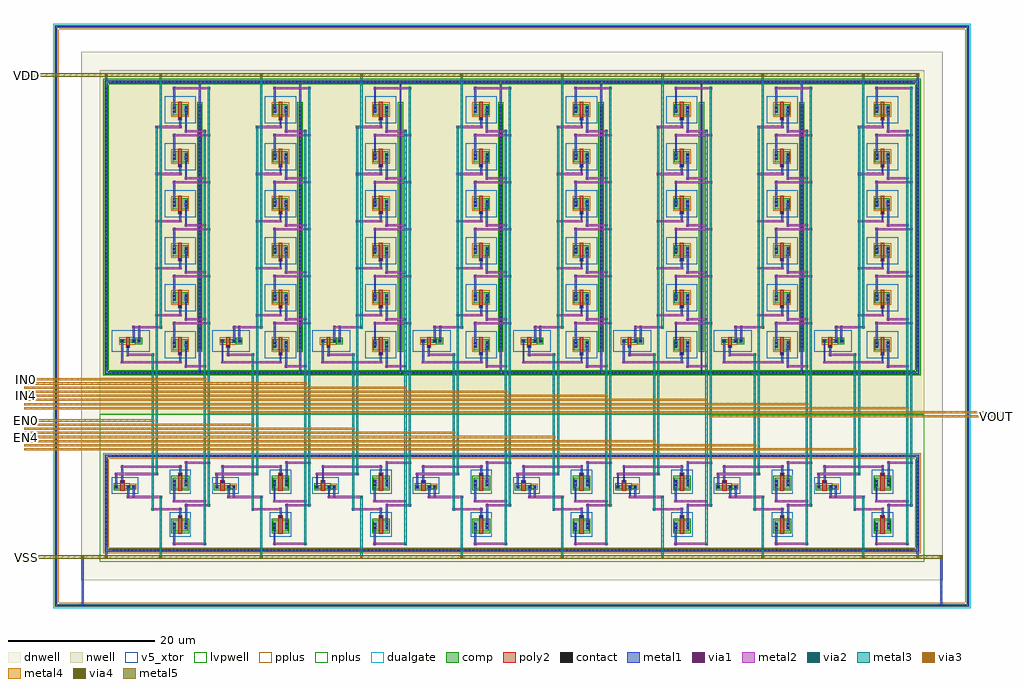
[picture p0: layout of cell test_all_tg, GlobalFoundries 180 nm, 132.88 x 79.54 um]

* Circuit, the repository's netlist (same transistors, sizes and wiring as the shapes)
** sch_path: /foss/designs/libs/core_test/test_all_tg/test_all_tg.sch
.subckt test_all_tg VDD VSS Vp VOUT IN0 IN1 IN2 IN3 IN4 IN5 IN6 IN7 EN0 EN1 EN2 EN3 EN4 EN5 EN6 EN7
*.PININFO VDD:B Vp:B VOUT:B IN0:B IN1:B IN2:B IN3:B IN4:B IN5:B IN6:B IN7:B VSS:B EN0:B EN1:B EN2:B EN3:B EN4:B EN5:B EN6:B EN7:B
x1 VDD EN0 IN0 Vp VSS test_tg
x2 VDD EN1 IN1 Vp VSS test_tg
x3 VDD EN2 IN2 Vp VSS test_tg
x4 VDD EN3 IN3 Vp VSS test_tg
x5 VDD EN4 IN4 Vp VSS test_tg
x6 VDD EN5 IN5 VOUT VSS test_tg
x7 VDD EN6 IN6 VOUT VSS test_tg
x8 VDD EN7 IN7 VOUT VSS test_tg
.ends

* expanding   symbol:  libs/core_test/test_tg/test_tg.sym # of pins=5
** sym_path: /foss/designs/libs/core_test/test_tg/test_tg.sym
** sch_path: /foss/designs/libs/core_test/test_tg/test_tg.sch
.subckt test_tg VDD EN VIN VOUT VSS
*.PININFO VIN:B VOUT:B EN:I VDD:B VSS:B
XMTG1 VIN EN VOUT VSS nfet_05v0 L=0.60u W=1.5u nf=1 m=2
XMTG2 VOUT ENB VIN VDD pfet_05v0 L=0.50u W=1.5u nf=1 m=6
x1 VDD ENB EN VSS test_inv
.ends


* expanding   symbol:  libs/core_test/test_inv/test_inv.sym # of pins=4
** sym_path: /foss/designs/libs/core_test/test_inv/test_inv.sym
** sch_path: /foss/designs/libs/core_test/test_inv/test_inv.sch
.subckt test_inv VDD OUT IN VSS
*.PININFO OUT:O IN:I VDD:B VSS:B
XM1 OUT IN VSS VSS nfet_05v0 L=0.60u W=0.50u nf=1 m=1
XM2 OUT IN VDD VDD pfet_05v0 L=0.50u W=0.50u nf=1 m=1
.ends

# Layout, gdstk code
import gdstk
lib = gdstk.Library(unit=1e-6, precision=5e-09)
def R(c, l, rs):  # rectangles x0, y0, x1, y1
    for r in rs: c.add(gdstk.rectangle(r[:2], r[2:], *l))
def A(c, l, x, y, w, h, nx, ny, dx, dy):  # array of equal rectangles
    R(c, l, [(x+i*dx, y+j*dy, x+i*dx+w, y+j*dy+h) for i in range(nx) for j in range(ny)])
def P(c, l, *ps):  # polygons
    for p in ps: c.add(gdstk.Polygon(p, *l))
dnwell = (12, 0)
nwell = (21, 0)
comp = (22, 0)
poly2 = (30, 0)
pplus = (31, 0)
nplus = (32, 0)
contact = (33, 0)
metal1 = (34, 0)
via1 = (35, 0)
metal2 = (36, 0)
via2 = (38, 0)
via3 = (40, 0)
via4 = (41, 0)
metal3 = (42, 0)
metal4 = (46, 0)
dualgate = (55, 0)
metal5 = (81, 0)
v5_xtor = (112, 1)
lvpwell = (204, 0)

nfet_2 = lib.new_cell('nfet$2')
R(nfet_2, comp, [(-0.42,0,0,1.5), (0,0,1.22,1.5), (1.22,0,1.64,1.5)])
R(nfet_2, poly2, [(0.31,-0.3,0.91,1.8), (0.31,1.8,0.91,2.16)])
R(nfet_2, nplus, [(-0.59,-0.24,1.81,1.74)])
R(nfet_2, contact, [(-0.32,0.385,-0.1,0.605), (1.32,0.385,1.54,0.605), (-0.32,0.895,-0.1,1.115), (1.32,0.895,1.54,1.115), (0.5,1.87,0.72,2.09)])
R(nfet_2, metal1, [(-0.4,0.305,-0.02,1.195), (1.24,0.305,1.62,1.195), (0.42,1.79,0.8,2.17)])
R(nfet_2, dualgate, [(-0.84,-0.71,2.06,2.58)])
R(nfet_2, v5_xtor, [(-0.84,-0.71,2.06,2.58)])

pfet_1 = lib.new_cell('pfet$1')
R(pfet_1, nwell, [(-1.15,-0.69,3,1.19)])
R(pfet_1, comp, [(-0.46,0,0,0.5), (0,0,1.12,0.5), (1.12,0,1.58,0.5), (1.58,0,2.31,0.5)])
R(pfet_1, poly2, [(0.31,-0.68,0.81,-0.3), (0.31,-0.3,0.81,0.8)])
R(pfet_1, pplus, [(-0.63,-0.24,1.58,0.74)])
R(pfet_1, nplus, [(1.58,-0.17,2.48,0.67)])
R(pfet_1, contact, [(0.45,-0.6,0.67,-0.38), (-0.34,0.14,-0.12,0.36), (1.24,0.14,1.46,0.36), (1.97,0.14,2.19,0.36)])
R(pfet_1, metal1, [(0.37,-0.68,0.75,-0.3), (-0.42,0.06,-0.04,0.44), (1.16,0.06,1.54,0.44), (1.89,0.06,2.27,0.44)])
R(pfet_1, dualgate, [(-1.65,-1.19,3.5,1.69)])
R(pfet_1, v5_xtor, [(-1.65,-1.19,3.5,1.69)])

pfet_2 = lib.new_cell('pfet$2')
R(pfet_2, nwell, [(-1.07,-0.61,2.19,2.11)])
R(pfet_2, comp, [(-0.46,0,0,1.5), (0,0,1.12,1.5), (1.12,0,1.58,1.5)])
R(pfet_2, poly2, [(0.31,-0.68,0.81,-0.3), (0.31,-0.3,0.81,1.8)])
R(pfet_2, pplus, [(-0.63,-0.24,1.75,1.74)])
R(pfet_2, contact, [(0.45,-0.6,0.67,-0.38), (-0.34,0.385,-0.12,0.605), (1.24,0.385,1.46,0.605), (-0.34,0.895,-0.12,1.115), (1.24,0.895,1.46,1.115)])
R(pfet_2, metal1, [(0.37,-0.68,0.75,-0.3), (-0.42,0.305,-0.04,1.195), (1.16,0.305,1.54,1.195)])
R(pfet_2, dualgate, [(-1.57,-1.11,2.69,2.61), (-0.88,-1.09,2,2.21)])
R(pfet_2, v5_xtor, [(-1.57,-1.11,2.69,2.61), (-0.88,-1.09,2,2.21)])

nfet = lib.new_cell('nfet')
R(nfet, comp, [(-0.42,0,0,0.5), (0,0,1.22,0.5), (1.22,0,1.64,0.5), (1.64,0,2.35,0.5)])
R(nfet, poly2, [(0.31,-0.3,0.91,0.8), (0.31,0.8,0.91,1.16)])
R(nfet, pplus, [(1.64,-0.17,2.52,0.67)])
R(nfet, nplus, [(-0.59,-0.24,1.64,0.74)])
R(nfet, contact, [(-0.32,0.14,-0.1,0.36), (1.32,0.14,1.54,0.36), (2.03,0.14,2.25,0.36), (0.5,0.87,0.72,1.09)])
R(nfet, metal1, [(-0.4,0.06,-0.02,0.44), (1.24,0.06,1.62,0.44), (1.95,0.06,2.33,0.44), (0.42,0.79,0.8,1.17)])
R(nfet, dualgate, [(-0.84,-0.71,2.77,1.58)])
R(nfet, v5_xtor, [(-0.84,-0.71,2.77,1.58)])

test_all_tg = lib.new_cell('test_all_tg')
R(test_all_tg, dnwell, [(-48.005,71.885,69.235,143.785)])
R(test_all_tg, nwell, [(-45.505,94.445,66.735,141.285)])
A(test_all_tg, comp, -32.08, 103.175, 0.38, 33.5, 7, 1, 13.66, 0)
P(test_all_tg, comp, [(-51.655,68.235),(-51.655,147.055),(-51.275,147.055),(-51.275,68.615),(72.505,68.615),(72.505,147.055),(-51.655,147.055),(-51.655,147.435),(72.885,147.435),(72.885,68.235)],
  [(-44.835,99.915),(-44.835,139.555),(-44.455,139.555),(-44.455,100.295),(65.685,100.295),(65.685,139.555),(-44.835,139.555),(-44.835,139.935),(66.065,139.935),(66.065,99.915)],
  [(-44.835,75.735),(-44.835,88.595),(-44.455,88.595),(-44.455,76.115),(65.685,76.115),(65.685,88.595),(-44.835,88.595),(-44.835,88.975),(66.065,88.975),(66.065,75.735)])
P(test_all_tg, pplus, [(-51.825,68.065),(-51.825,146.885),(-51.105,146.885),(-51.105,68.785),(72.335,68.785),(72.335,146.885),(-51.825,146.885),(-51.825,147.605),(73.055,147.605),(73.055,68.065)],
  [(-45.005,75.565),(-45.005,88.425),(-44.285,88.425),(-44.285,76.285),(65.515,76.285),(65.515,88.425),(-45.005,88.425),(-45.005,89.145),(66.235,89.145),(66.235,75.565)])
A(test_all_tg, nplus, -32.25, 102.935, 0.72, 33.98, 7, 1, 13.66, 0)
P(test_all_tg, nplus, [(-45.005,99.745),(-45.005,139.385),(-44.285,139.385),(-44.285,100.465),(65.515,100.465),(65.515,139.385),(-45.005,139.385),(-45.005,140.105),(66.235,140.105),(66.235,99.745)])
A(test_all_tg, contact, -50.95, 68.315, 0.22, 0.22, 242, 2, 0.51, 78.82)
A(test_all_tg, contact, -51.575, 68.965, 0.22, 0.22, 1, 153, 0, 0.51)
A(test_all_tg, contact, 72.585, 68.965, 0.22, 0.22, 1, 153, 0, 0.51)
A(test_all_tg, contact, -43.735, 75.815, 0.22, 0.22, 214, 2, 0.51, 24.18)
A(test_all_tg, contact, -44.755, 76.635, 0.22, 0.22, 1, 23, 0, 0.51)
A(test_all_tg, contact, 65.765, 76.635, 0.22, 0.22, 1, 23, 0, 0.51)
A(test_all_tg, contact, -43.81, 88.675, 0.22, 0.22, 214, 2, 0.51, 50.96)
A(test_all_tg, contact, -44.755, 100.945, 0.22, 0.22, 1, 75, 0, 0.51)
A(test_all_tg, contact, 65.765, 100.945, 0.22, 0.22, 1, 75, 0, 0.51)
A(test_all_tg, contact, -32, 103.495, 0.22, 0.22, 7, 65, 13.66, 0.51)
A(test_all_tg, metal1, -35.505, 76.635, 0.26, 3.015, 8, 2, 13.66, 5.81)
A(test_all_tg, metal1, -33.865, 78.88, 0.26, 3.385, 8, 2, 13.66, 5.81)
A(test_all_tg, metal1, -34.685, 80.365, 0.26, 1.34, 8, 2, 13.66, 5.81)
A(test_all_tg, metal1, -43.385, 84.445, 0.26, 2.07, 8, 1, 13.66, 0)
A(test_all_tg, metal1, -42.565, 85.175, 0.26, 2.34, 8, 1, 13.66, 0)
A(test_all_tg, metal1, -32.02, 99.975, 0.26, 39.9, 7, 1, 13.66, 0)
A(test_all_tg, metal1, -33.905, 100.815, 0.26, 3.495, 8, 6, 13.66, 6.4)
A(test_all_tg, metal1, -42.595, 101.375, 0.26, 3.18, 8, 1, 13.66, 0)
A(test_all_tg, metal1, -34.695, 101.375, 0.26, 1.44, 8, 6, 13.66, 6.4)
A(test_all_tg, metal1, -41.805, 102.375, 0.26, 1.44, 8, 1, 13.66, 0)
A(test_all_tg, metal1, -35.485, 103.54, 0.26, 3.495, 8, 6, 13.66, 6.4)
R(test_all_tg, metal1, [(-41.745,83.005,-41.485,84.705), (-41.035,83.005,-40.775,84.705), (-28.085,83.005,-27.825,84.705), (-27.375,83.005,-27.115,84.705), (-14.425,83.005,-14.165,84.705), (-13.715,83.005,-13.455,84.705), (-0.765,83.005,-0.505,84.705), (-0.055,83.005,0.205,84.705), (12.895,83.005,13.155,84.705), (13.605,83.005,13.865,84.705), (26.555,83.005,26.815,84.705), (27.265,83.005,27.525,84.705), (40.215,83.005,40.475,84.705), (40.925,83.005,41.185,84.705), (53.875,83.005,54.135,84.705), (54.585,83.005,54.845,84.705), (-41.015,104.295,-40.755,106.475), (-40.285,104.295,-40.025,106.475), (-27.355,104.295,-27.095,106.475), (-26.625,104.295,-26.365,106.475), (-13.695,104.295,-13.435,106.475), (-12.965,104.295,-12.705,106.475), (-0.035,104.295,0.225,106.475), (0.695,104.295,0.955,106.475), (13.625,104.295,13.885,106.475), (14.355,104.295,14.615,106.475), (27.285,104.295,27.545,106.475), (28.015,104.295,28.275,106.475), (40.945,104.295,41.205,106.475), (41.675,104.295,41.935,106.475), (54.605,104.295,54.865,106.475), (55.335,104.295,55.595,106.475)])
P(test_all_tg, metal1, [(-44.775,99.975),(-44.775,139.615),(-44.515,139.615),(-44.515,100.235),(65.745,100.235),(65.745,139.615),(-44.775,139.615),(-44.775,140.835),(-44.515,140.835),(-44.515,139.875),(65.745,139.875),(65.745,140.835),(66.005,140.835),(66.005,99.975)],
  [(-44.775,74.835),(-44.775,88.655),(-44.515,88.655),(-44.515,76.055),(65.745,76.055),(65.745,88.655),(-44.775,88.655),(-44.775,88.915),(66.005,88.915),(66.005,74.835),(65.745,74.835),(65.745,75.795),(-44.515,75.795),(-44.515,74.835)],
  [(-51.595,68.295),(-51.595,147.115),(-51.335,147.115),(-51.335,68.555),(-47.945,68.555),(-47.945,75.215),(-47.685,75.215),(-47.685,68.555),(68.915,68.555),(68.915,75.215),(69.175,75.215),(69.175,68.555),(72.565,68.555),(72.565,147.115),(-51.595,147.115),(-51.595,147.375),(72.825,147.375),(72.825,68.295)])
A(test_all_tg, via1, -35.505, 76.695, 0.26, 0.26, 8, 2, 13.66, 5.81)
A(test_all_tg, via1, -34.685, 81.385, 0.26, 0.26, 8, 1, 13.66, 0)
A(test_all_tg, via1, -33.865, 81.945, 0.26, 0.26, 8, 2, 13.66, 5.81)
A(test_all_tg, via1, -43.385, 86.195, 0.26, 0.26, 8, 1, 13.66, 0)
A(test_all_tg, via1, -33.905, 100.875, 0.26, 0.26, 8, 6, 13.66, 6.4)
A(test_all_tg, via1, -41.805, 102.435, 0.26, 0.26, 8, 1, 13.66, 0)
A(test_all_tg, via1, -35.485, 106.715, 0.26, 0.26, 8, 6, 13.66, 6.4)
A(test_all_tg, via1, -34.695, 107.835, 0.26, 0.26, 8, 5, 13.66, 6.4)
R(test_all_tg, via1, [(-47.945,74.895,-47.685,75.155), (-44.775,74.895,-44.515,75.155), (65.745,74.895,66.005,75.155), (68.915,74.895,69.175,75.155), (-41.745,83.065,-41.485,83.325), (-41.035,83.065,-40.775,83.325), (-28.085,83.065,-27.825,83.325), (-27.375,83.065,-27.115,83.325), (-14.425,83.065,-14.165,83.325), (-13.715,83.065,-13.455,83.325), (-0.765,83.065,-0.505,83.325), (-0.055,83.065,0.205,83.325), (12.895,83.065,13.155,83.325), (13.605,83.065,13.865,83.325), (26.555,83.065,26.815,83.325), (27.265,83.065,27.525,83.325), (40.215,83.065,40.475,83.325), (40.925,83.065,41.185,83.325), (53.875,83.065,54.135,83.325), (54.585,83.065,54.845,83.325), (-42.565,87.195,-42.305,87.455), (-34.685,87.195,-34.425,87.455), (-28.905,87.195,-28.645,87.455), (-21.025,87.195,-20.765,87.455), (-15.245,87.195,-14.985,87.455), (-7.365,87.195,-7.105,87.455), (-1.585,87.195,-1.325,87.455), (6.295,87.195,6.555,87.455), (12.075,87.195,12.335,87.455), (19.955,87.195,20.215,87.455), (25.735,87.195,25.995,87.455), (33.615,87.195,33.875,87.455), (39.395,87.195,39.655,87.455), (47.275,87.195,47.535,87.455), (53.055,87.195,53.315,87.455), (60.935,87.195,61.195,87.455), (-42.595,101.435,-42.335,101.695), (-34.695,101.435,-34.435,101.695), (-28.935,101.435,-28.675,101.695), (-21.035,101.435,-20.775,101.695), (-15.275,101.435,-15.015,101.695), (-7.375,101.435,-7.115,101.695), (-1.615,101.435,-1.355,101.695), (6.285,101.435,6.545,101.695), (12.045,101.435,12.305,101.695), (19.945,101.435,20.205,101.695), (25.705,101.435,25.965,101.695), (33.605,101.435,33.865,101.695), (39.365,101.435,39.625,101.695), (47.265,101.435,47.525,101.695), (53.025,101.435,53.285,101.695), (60.925,101.435,61.185,101.695), (-41.015,106.155,-40.755,106.415), (-40.285,106.155,-40.025,106.415), (-27.355,106.155,-27.095,106.415), (-26.625,106.155,-26.365,106.415), (-13.695,106.155,-13.435,106.415), (-12.965,106.155,-12.705,106.415), (-0.035,106.155,0.225,106.415), (0.695,106.155,0.955,106.415), (13.625,106.155,13.885,106.415), (14.355,106.155,14.615,106.415), (27.285,106.155,27.545,106.415), (28.015,106.155,28.275,106.415), (40.945,106.155,41.205,106.415), (41.675,106.155,41.935,106.415), (54.605,106.155,54.865,106.415), (55.335,106.155,55.595,106.415), (-44.775,140.515,-44.515,140.775), (65.745,140.515,66.005,140.775)])
A(test_all_tg, metal2, -35.565, 76.685, 4.55, 0.28, 8, 2, 13.66, 5.81)
A(test_all_tg, metal2, -38.505, 81.375, 4.14, 0.28, 8, 1, 13.66, 0)
A(test_all_tg, metal2, -33.925, 81.935, 3.47, 0.28, 8, 2, 13.66, 5.81)
A(test_all_tg, metal2, -41.805, 83.055, 4.8, 0.28, 8, 1, 13.66, 0)
A(test_all_tg, metal2, -43.445, 86.185, 5.88, 0.28, 8, 1, 13.66, 0)
A(test_all_tg, metal2, -42.625, 87.185, 8.26, 0.28, 8, 1, 13.66, 0)
A(test_all_tg, metal2, -33.965, 100.865, 2.95, 0.28, 8, 6, 13.66, 6.4)
A(test_all_tg, metal2, -42.655, 101.425, 8.28, 0.28, 8, 1, 13.66, 0)
A(test_all_tg, metal2, -41.865, 102.425, 3.74, 0.28, 8, 1, 13.66, 0)
A(test_all_tg, metal2, -41.075, 106.145, 4.07, 0.28, 8, 1, 13.66, 0)
A(test_all_tg, metal2, -35.545, 106.705, 5.09, 0.28, 8, 6, 13.66, 6.4)
A(test_all_tg, metal2, -37.945, 107.825, 3.57, 0.28, 8, 5, 13.66, 6.4)
R(test_all_tg, metal2, [(-48.005,74.835,-47.625,75.215), (-44.835,74.835,-44.455,75.215), (65.685,74.835,66.065,75.215), (68.855,74.835,69.235,75.215), (-44.835,140.455,-44.455,140.835), (65.685,140.455,66.065,140.835)])
A(test_all_tg, via2, -31.335, 76.695, 0.26, 0.26, 8, 2, 13.66, 5.81)
A(test_all_tg, via2, -38.445, 81.385, 0.26, 0.26, 8, 2, 13.66, 5.81)
A(test_all_tg, via2, -30.775, 81.945, 0.26, 0.26, 8, 2, 13.66, 5.81)
A(test_all_tg, via2, -37.325, 83.065, 0.26, 0.26, 8, 2, 13.66, 23.09)
A(test_all_tg, via2, -37.885, 86.195, 0.26, 0.26, 8, 2, 13.66, 15.24)
A(test_all_tg, via2, -31.335, 100.875, 0.26, 0.26, 8, 6, 13.66, 6.4)
A(test_all_tg, via2, -38.445, 102.435, 0.26, 0.26, 8, 1, 13.66, 0)
A(test_all_tg, via2, -30.775, 106.715, 0.26, 0.26, 8, 6, 13.66, 6.4)
A(test_all_tg, via2, -37.885, 107.835, 0.26, 0.26, 8, 5, 13.66, 6.4)
R(test_all_tg, via2, [(-47.945,74.895,-47.685,75.155), (-44.775,74.895,-44.515,75.155), (65.745,74.895,66.005,75.155), (68.915,74.895,69.175,75.155), (-44.775,140.515,-44.515,140.775), (65.745,140.515,66.005,140.775)])
A(test_all_tg, via3, -37.325, 74.895, 0.26, 0.26, 8, 2, 13.66, 65.62)
A(test_all_tg, via3, 37.525, 94.035, 0.26, 0.26, 3, 1, 13.66, 0)
A(test_all_tg, via3, -30.775, 94.595, 0.26, 0.26, 5, 1, 13.66, 0)
R(test_all_tg, via3, [(-47.945,74.895,-47.685,75.155), (-44.775,74.895,-44.515,75.155), (65.745,74.895,66.005,75.155), (68.915,74.895,69.175,75.155), (57.175,89.555,57.435,89.815), (43.515,90.115,43.775,90.375), (29.855,90.675,30.115,90.935), (16.195,91.235,16.455,91.495), (2.535,91.795,2.795,92.055), (-11.125,92.355,-10.865,92.615), (-24.785,92.915,-24.525,93.175), (-38.445,93.475,-38.185,93.735), (64.285,95.155,64.545,95.415), (50.625,95.715,50.885,95.975), (36.965,96.275,37.225,96.535), (23.305,96.835,23.565,97.095), (9.645,97.395,9.905,97.655), (-4.015,97.955,-3.755,98.215), (-17.675,98.515,-17.415,98.775), (-31.335,99.075,-31.075,99.335), (-44.775,140.515,-44.515,140.775), (65.745,140.515,66.005,140.775)])
A(test_all_tg, via4, -37.325, 74.895, 0.26, 0.26, 8, 2, 13.66, 65.62)
R(test_all_tg, via4, [(-47.945,74.895,-47.685,75.155), (-44.775,74.895,-44.515,75.155), (65.745,74.895,66.005,75.155), (68.915,74.895,69.175,75.155), (-44.775,140.515,-44.515,140.775), (65.745,140.515,66.005,140.775)])
A(test_all_tg, metal3, -37.335, 74.835, 0.28, 8.55, 8, 1, 13.66, 0)
A(test_all_tg, metal3, -31.345, 76.635, 0.28, 56.56, 8, 1, 13.66, 0)
A(test_all_tg, metal3, -38.455, 81.325, 0.28, 21.43, 8, 1, 13.66, 0)
A(test_all_tg, metal3, -30.785, 81.885, 0.28, 57.15, 8, 1, 13.66, 0)
A(test_all_tg, metal3, -37.895, 86.135, 0.28, 47.62, 8, 1, 13.66, 0)
A(test_all_tg, metal3, -37.335, 106.095, 0.28, 34.74, 8, 1, 13.66, 0)
R(test_all_tg, metal3, [(-48.005,74.835,-47.625,75.215), (-44.835,74.835,-44.455,75.215), (65.685,74.835,66.065,75.215), (68.855,74.835,69.235,75.215), (-44.835,140.455,-44.455,140.835), (65.685,140.455,66.065,140.835)])
A(test_all_tg, metal4, -37.385, 74.835, 0.38, 0.38, 8, 2, 13.66, 65.62)
R(test_all_tg, metal4, [(-48.005,74.835,-47.625,75.215), (-44.835,74.835,-44.455,75.215), (65.685,74.835,66.065,75.215), (68.855,74.835,69.235,75.215), (-55.825,89.545,57.495,89.825), (-55.825,90.105,43.835,90.385), (-55.825,90.665,30.175,90.945), (-55.825,91.225,16.515,91.505), (-55.825,91.785,2.855,92.065), (-55.825,92.345,-10.805,92.625), (-55.825,92.905,-24.465,93.185), (-55.825,93.465,-38.125,93.745), (37.465,94.025,77.055,94.305), (-30.835,94.585,77.055,94.865), (-55.825,95.145,64.605,95.425), (-55.825,95.705,50.945,95.985), (-55.825,96.265,37.285,96.545), (-55.825,96.825,23.625,97.105), (-55.825,97.385,9.965,97.665), (-55.825,97.945,-3.695,98.225), (-55.825,98.505,-17.355,98.785), (-55.825,99.065,-31.015,99.345), (-44.835,140.455,-44.455,140.835), (65.685,140.455,66.065,140.835)])
R(test_all_tg, dualgate, [(-51.825,68.065,73.055,147.605), (-48.005,71.885,69.235,143.785)])
R(test_all_tg, metal5, [(-55.825,74.805,69.235,75.245), (-55.825,140.425,66.065,140.865)])
R(test_all_tg, lvpwell, [(-45.505,74.385,66.735,94.445)])
r = gdstk.Reference(nfet_2, (-35.165,78.515)); r.repetition = gdstk.Repetition(1, 2, v1=(0,0), v2=(0,5.81)); test_all_tg.add(r)
test_all_tg.add(gdstk.Reference(pfet_1, (-42.235,104.175)))
test_all_tg.add(gdstk.Reference(pfet_1, (-28.575,104.175)))
r = gdstk.Reference(pfet_2, (-21.465,103.175)); r.repetition = gdstk.Repetition(1, 6, v1=(0,0), v2=(0,6.4)); test_all_tg.add(r)
test_all_tg.add(gdstk.Reference(pfet_1, (-14.915,104.175)))
r = gdstk.Reference(pfet_2, (-7.805,103.175)); r.repetition = gdstk.Repetition(1, 6, v1=(0,0), v2=(0,6.4)); test_all_tg.add(r)
test_all_tg.add(gdstk.Reference(pfet_1, (-1.255,104.175)))
r = gdstk.Reference(pfet_2, (5.855,103.175)); r.repetition = gdstk.Repetition(1, 6, v1=(0,0), v2=(0,6.4)); test_all_tg.add(r)
test_all_tg.add(gdstk.Reference(pfet_1, (12.405,104.175)))
r = gdstk.Reference(pfet_2, (19.515,103.175)); r.repetition = gdstk.Repetition(1, 6, v1=(0,0), v2=(0,6.4)); test_all_tg.add(r)
test_all_tg.add(gdstk.Reference(pfet_1, (26.065,104.175)))
r = gdstk.Reference(pfet_2, (33.175,103.175)); r.repetition = gdstk.Repetition(1, 6, v1=(0,0), v2=(0,6.4)); test_all_tg.add(r)
test_all_tg.add(gdstk.Reference(pfet_1, (39.725,104.175)))
r = gdstk.Reference(pfet_2, (46.835,103.175)); r.repetition = gdstk.Repetition(1, 6, v1=(0,0), v2=(0,6.4)); test_all_tg.add(r)
test_all_tg.add(gdstk.Reference(pfet_1, (53.385,104.175)))
r = gdstk.Reference(pfet_2, (60.495,103.175)); r.repetition = gdstk.Repetition(1, 6, v1=(0,0), v2=(0,6.4)); test_all_tg.add(r)
test_all_tg.add(gdstk.Reference(nfet, (-43.045,84.325)))
r = gdstk.Reference(pfet_2, (-35.125,103.175)); r.repetition = gdstk.Repetition(1, 6, v1=(0,0), v2=(0,6.4)); test_all_tg.add(r)
r = gdstk.Reference(nfet_2, (-21.505,78.515)); r.repetition = gdstk.Repetition(1, 2, v1=(0,0), v2=(0,5.81)); test_all_tg.add(r)
test_all_tg.add(gdstk.Reference(nfet, (-29.385,84.325)))
r = gdstk.Reference(nfet_2, (60.455,78.515)); r.repetition = gdstk.Repetition(1, 2, v1=(0,0), v2=(0,5.81)); test_all_tg.add(r)
test_all_tg.add(gdstk.Reference(nfet, (52.575,84.325)))
r = gdstk.Reference(nfet_2, (-7.845,78.515)); r.repetition = gdstk.Repetition(1, 2, v1=(0,0), v2=(0,5.81)); test_all_tg.add(r)
test_all_tg.add(gdstk.Reference(nfet, (-15.725,84.325)))
r = gdstk.Reference(nfet_2, (5.815,78.515)); r.repetition = gdstk.Repetition(1, 2, v1=(0,0), v2=(0,5.81)); test_all_tg.add(r)
test_all_tg.add(gdstk.Reference(nfet, (-2.065,84.325)))
r = gdstk.Reference(nfet_2, (19.475,78.515)); r.repetition = gdstk.Repetition(1, 2, v1=(0,0), v2=(0,5.81)); test_all_tg.add(r)
test_all_tg.add(gdstk.Reference(nfet, (11.595,84.325)))
r = gdstk.Reference(nfet_2, (46.795,78.515)); r.repetition = gdstk.Repetition(1, 2, v1=(0,0), v2=(0,5.81)); test_all_tg.add(r)
test_all_tg.add(gdstk.Reference(nfet, (38.915,84.325)))
r = gdstk.Reference(nfet_2, (33.135,78.515)); r.repetition = gdstk.Repetition(1, 2, v1=(0,0), v2=(0,5.81)); test_all_tg.add(r)
test_all_tg.add(gdstk.Reference(nfet, (25.255,84.325)))
test_all_tg.add(gdstk.Label('VDD', (-55.48,140.61), layer=81, texttype=10))
test_all_tg.add(gdstk.Label('VSS', (-55.5,74.995), layer=81, texttype=10))
test_all_tg.add(gdstk.Label('EN0', (-55.495,93.585), layer=46, texttype=10))
test_all_tg.add(gdstk.Label('EN1', (-55.49,93.015), layer=46, texttype=10))
test_all_tg.add(gdstk.Label('EN2', (-55.495,92.46), layer=46, texttype=10))
test_all_tg.add(gdstk.Label('EN3', (-55.495,91.885), layer=46, texttype=10))
test_all_tg.add(gdstk.Label('EN4', (-55.495,91.335), layer=46, texttype=10))
test_all_tg.add(gdstk.Label('EN5', (-55.49,90.775), layer=46, texttype=10))
test_all_tg.add(gdstk.Label('EN6', (-55.49,90.235), layer=46, texttype=10))
test_all_tg.add(gdstk.Label('EN7', (-55.495,89.655), layer=46, texttype=10))
test_all_tg.add(gdstk.Label('IN0', (-55.49,99.185), layer=46, texttype=10))
test_all_tg.add(gdstk.Label('IN1', (-55.49,98.615), layer=46, texttype=10))
test_all_tg.add(gdstk.Label('IN2', (-55.49,98.055), layer=46, texttype=10))
test_all_tg.add(gdstk.Label('IN3', (-55.49,97.485), layer=46, texttype=10))
test_all_tg.add(gdstk.Label('IN4', (-55.49,96.955), layer=46, texttype=10))
test_all_tg.add(gdstk.Label('IN5', (-55.495,96.375), layer=46, texttype=10))
test_all_tg.add(gdstk.Label('IN6', (-55.495,95.815), layer=46, texttype=10))
test_all_tg.add(gdstk.Label('IN7', (-55.49,95.26), layer=46, texttype=10))
test_all_tg.add(gdstk.Label('VOUT', (76.6,94.14), layer=46, texttype=10))
test_all_tg.add(gdstk.Label('Vp', (76.605,94.715), layer=46, texttype=10))

lib.write_gds('test_all_tg.gds')
